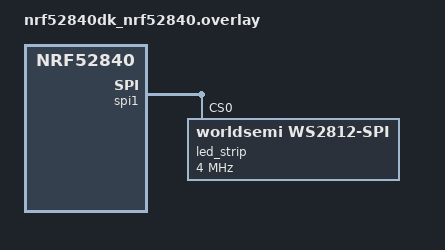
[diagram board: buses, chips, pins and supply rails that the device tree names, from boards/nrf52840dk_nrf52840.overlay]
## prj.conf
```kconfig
CONFIG_GPIO=y
CONFIG_SPI=y
CONFIG_LOG=y
CONFIG_LED_STRIP=y
CONFIG_LED_STRIP_LOG_LEVEL_DBG=y
CONFIG_ENTROPY_DEVICE_RANDOM_GENERATOR=y
CONFIG_ENTROPY_GENERATOR=y
CONFIG_ENTROPY_NRF5_RNG=y
CONFIG_HEAP_MEM_POOL_SIZE=1024
#CONFIG_NEWLIB_LIBC=y
#CONFIG_NEWLIB_LIBC_FLOAT_PRINTF=y
#CONFIG_CBPRINTF_FP_SUPPORT=y
```

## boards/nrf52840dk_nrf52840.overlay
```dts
#include <zephyr/dt-bindings/led/led.h>
#include <zephyr/dt-bindings/spi/spi.h>

&spi1 { /* MOSI on D11 / P0.23 */
	compatible = "nordic,nrf-spim";
	led_strip: ws2812@0 {
		compatible = "worldsemi,ws2812-spi";

		/* SPI */
		reg = <0>; /* ignored, but necessary for SPI bindings */
		spi-max-frequency = <4000000>;

		/* WS2812 */
		chain-length = <256>; /* arbitrary; change at will */
		color-mapping = <LED_COLOR_ID_GREEN
				 LED_COLOR_ID_RED
				 LED_COLOR_ID_BLUE>;
		spi-one-frame = <0x70>;
		spi-zero-frame = <0x40>;
	};
};

/ {

    aliases {
		led-strip = &led_strip;
	};
};
```

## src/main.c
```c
#include <errno.h>
#include <string.h>

#define LOG_LEVEL 4
#include <zephyr/logging/log.h>
LOG_MODULE_REGISTER(main);

#include <zephyr/kernel.h>
#include <zephyr/drivers/led_strip.h>
#include <zephyr/device.h>
#include <zephyr/drivers/spi.h>
#include <zephyr/sys/util.h>
#include <zephyr/random/random.h>

#define STRIP_NODE		DT_ALIAS(led_strip)

#if DT_NODE_HAS_PROP(DT_ALIAS(led_strip), chain_length)
#define STRIP_NUM_PIXELS	DT_PROP(DT_ALIAS(led_strip), chain_length)
#else
#error Unable to determine length of LED strip
#endif

//#define DELAY_TIME K_MSEC(CONFIG_SAMPLE_LED_UPDATE_DELAY)

#define RGB(_r, _g, _b) { .r = (_r), .g = (_g), .b = (_b) }

static const struct led_rgb colors[] = {
	RGB(0x08, 0x00, 0x00), /* red */
	RGB(0x00, 0x08, 0x00), /* green */
	RGB(0x00, 0x00, 0x08), /* blue */
	RGB(0x06, 0x00, 0x02), /* pink??? */
	RGB(0x02, 0x00, 0x06), /* pink??? */
};

typedef struct BlockPos {
    uint8_t x;
    uint8_t y;
}Block;

static struct led_rgb pixels[STRIP_NUM_PIXELS];

static const struct device *const strip = DEVICE_DT_GET(STRIP_NODE);

K_MSGQ_DEFINE(playerPos, sizeof(uint8_t), 1, 1);
K_MSGQ_DEFINE(blockQ, sizeof(Block*), 8, 1);

void clear_pixels(uint8_t pos)
{
    memset(&(pixels[pos]), 0x00, sizeof(struct led_rgb) * 2);
}

void clear_block_top(uint8_t x, uint8_t y)
{
    if (y % 2 != 0)
        clear_pixels(255 + (2 * x) - (8 * (y + 2)) - 6 - 1);
    else
        clear_pixels(255 - (2 * x) - (8 * y) - 16 - 1);
}

void set_player_position(uint8_t x)
{

    // Remove the 2 pixels for the bottom row
    memset(&(pixels[255 - (2 * x) - 1]), 0x00, sizeof(struct led_rgb) * 2);
    
    // Remove the 2 pixels for the top row
    memset(&(pixels[255 - 14 + (2 * x) - 1]), 0x00, sizeof(struct led_rgb) * 2);
    
    memcpy(&(pixels[255 - (2 * x)]), &colors[4], sizeof(struct led_rgb));
    memcpy(&(pixels[255 - (2 * x) - 1]), &colors[4], sizeof(struct led_rgb));
    memcpy(&(pixels[255 - 14 + (2 * x)]), &colors[4], sizeof(struct led_rgb));
    memcpy(&(pixels[255 - 14 + (2 * x) - 1]), &colors[4], sizeof(struct led_rgb));

}

void set_note(uint8_t x, uint8_t y)
{
    if (y % 2 != 0) {
        // Remove the 2 pixels for the bottom row
        memset(&(pixels[255 - (2 * x) - (8 * y) - 8 - 1]), 0x00, sizeof(struct led_rgb) * 2);
        
        // Remove the 2 pixels for the top row
        memset(&(pixels[255 - 8 + (2 * x) - (8 * y) - 1 + 2]), 0x00, sizeof(struct led_rgb) * 2);
        
        memcpy(&(pixels[255 - (2 * x) - (8 * y) - 8]), &colors[2], sizeof(struct led_rgb));
        memcpy(&(pixels[255 - (2 * x) - (8 * y) - 1 - 8]), &colors[2], sizeof(struct led_rgb));
        memcpy(&(pixels[255 - 8 + (2 * x) - (8 * y) + 2]), &colors[2], sizeof(struct led_rgb));
        memcpy(&(pixels[255 - 8 + (2 * x) - (8 * y) - 1 + 2]), &colors[2], sizeof(struct led_rgb));

    } else {

        // Remove the 2 pixels for the bottom row
        memset(&(pixels[255 - (2 * x) - (8 * y) - 1]), 0x00, sizeof(struct led_rgb) * 2);
        
        // Remove the 2 pixels for the top row
        memset(&(pixels[255 - 14 + (2 * x) - (8 * y) - 1]), 0x00, sizeof(struct led_rgb) * 2);
        
        memcpy(&(pixels[255 - (2 * x) - (8 * y)]), &colors[2], sizeof(struct led_rgb));
        memcpy(&(pixels[255 - (2 * x) - (8 * y) - 1]), &colors[2], sizeof(struct led_rgb));
        memcpy(&(pixels[255 - 14 + (2 * x) - (8 * y)]), &colors[2], sizeof(struct led_rgb));
        memcpy(&(pixels[255 - 14 + (2 * x) - (8 * y) - 1]), &colors[2], sizeof(struct led_rgb));

    }
    
}

void set_bottom_pixels(const struct led_rgb* color)
{
    // Clear the bottom 4 rows
    memset(&(pixels[208]), 0x00, sizeof(struct led_rgb) * 48);
    for (uint8_t i = 0; i < 8; i++)
        memcpy(&(pixels[208 + i]), color, sizeof(struct led_rgb));
    
    uint8_t pos = 0;
    k_msgq_get(&playerPos, &pos, K_NO_WAIT);

    set_player_position(pos);
}


int main(void)
{
	size_t color = 0;
	int rc;

	if (!device_is_ready(strip)) {
		return 0;
	}


    while (1) {
        Block* latestBlock;
        uint8_t numBlocks = k_msgq_num_used_get(&blockQ);
        
        if (!k_msgq_peek_at(&blockQ, &latestBlock, numBlocks - 1) && numBlocks != 0) {
        
            if (latestBlock->y < 27) {
                
                Block* block = (Block*)k_malloc(sizeof(Block));
                block->x = sys_rand8_get() % 4;
                block->y = 30;

                k_msgq_put(&blockQ, &block, K_NO_WAIT);
            }
        } else if (numBlocks == 0) {
        
            Block* block = (Block*)k_malloc(sizeof(Block));
            block->x = sys_rand8_get() % 4;
            block->y = 30;

            k_msgq_put(&blockQ, &block, K_NO_WAIT);
        
        }
            

        
        for (uint8_t i = 0; i < 8; i++) {
            Block* currBlock;

            // If the block exists in the queue
            k_msgq_peek(&blockQ, &currBlock);
                
            if (currBlock->y < 4) {
                k_msgq_get(&blockQ, &currBlock, K_NO_WAIT);
                k_free(currBlock);
                
            }
        }


        for (int i = 0; i < 8; i++) {

            Block* currBlock;

            if (!k_msgq_peek_at(&blockQ, &currBlock, i)) {
    
                set_note(currBlock->x, currBlock->y);
                clear_block_top(currBlock->x, currBlock->y); 
                
                set_bottom_pixels(&colors[3]);
                
                led_strip_update_rgb(strip, pixels, STRIP_NUM_PIXELS);
            }
        }
        
        for (uint8_t i = 0; i < 8; i++) {
            Block* currBlock;

            // If the block exists in the queue
            if (!k_msgq_peek_at(&blockQ, &currBlock, i)) {
                (currBlock->y) -= 1;
            }
        }
        k_msleep(50);
    }

	return 0;
}
```
